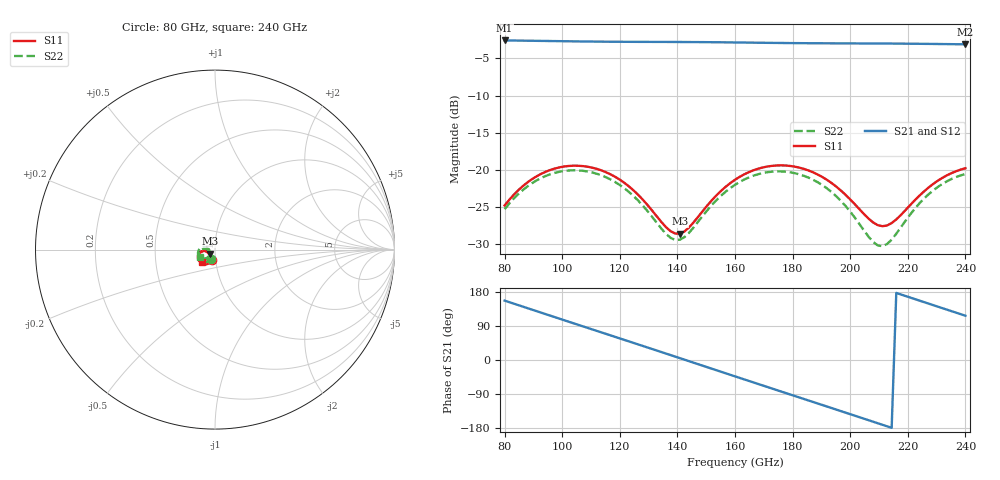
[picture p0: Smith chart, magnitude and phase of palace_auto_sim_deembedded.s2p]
! Created with skrf 1.11.0 (http://scikit-rf.org).
# GHz S DB R 50.0
!freq dBS11 angS11 dBS21 angS21 dBS12 angS12 dBS22 angS22
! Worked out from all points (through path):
!   101 points, 80 GHz to 240 GHz, reference 50 ohm
!   highest |S21| = -2.58 dB at 80 GHz (marker M1); lowest = -3.1 dB at 240 GHz (marker M2)
!   group delay of S21, straight-line fit = 6.94 ps
!   lowest |S11| = -28.5 dB at 140.8 GHz (marker M3), VSWR 1.08, Z = 47.1 - j2.17 ohm
!   |S11| at or under -10 dB: start of sweep to end of sweep
!   |S22| runs from -30.2 to -20.0 dB; largest |S21 - S12| = 1.3e-13
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80  -24.76 -107.1  -2.58 156.7  -2.58 156.7  -25.26 -112.6
86.4  -22.13 -111.2  -2.60 140.7  -2.60 140.7  -22.66 -117.5
94.4  -20.20 -123.3  -2.65 120.7  -2.65 120.7  -20.77 -130.4
100.8  -19.51 -134.7  -2.68 104.7  -2.68 104.7  -20.11 -142.6
107.2  -19.47 -146.3  -2.71 88.8  -2.71 88.8  -20.10 -154.9
120  -21.29 -166.9  -2.76 57.0  -2.76 57.0  -22.00 -176.9
128  -23.98 -173.3  -2.77 37.1  -2.77 37.1  -24.78 176.0
134.4  -26.96 -166.9  -2.78 21.1  -2.78 21.1  -27.85 -177.8
140.8  -28.54 -142.0  -2.78 5.0  -2.78 5.0  -29.36 -152.3
150.4  -24.75 -117.3  -2.81 -19.1  -2.81 -19.1  -25.39 -129.3
160  -21.30 -122.6  -2.85 -43.2  -2.85 -43.2  -21.98 -136.4
168  -19.82 -133.8  -2.88 -63.2  -2.88 -63.2  -20.56 -149.0
174.4  -19.38 -144.0  -2.91 -79.1  -2.91 -79.1  -20.18 -160.3
180.8  -19.54 -154.2  -2.93 -95.1  -2.93 -95.1  -20.42 -171.7
187.2  -20.32 -163.6  -2.95 -111.0  -2.95 -111.0  -21.32 177.6
198.4  -23.33 -173.3  -2.97 -138.9  -2.97 -138.9  -24.83 165.5
208  -27.05 -159.9  -2.98 -162.9  -2.98 -162.9  -29.68 -178.3
211.2  -27.54 -148.1  -2.99 -171.0  -2.99 -171.0  -30.23 -161.8
214.4  -27.13 -136.1  -3.00 -179.0  -3.00 -179.0  -29.34 -146.3
220.8  -24.72 -122.8  -3.02 164.9  -3.02 164.9  -25.98 -133.5
227.2  -22.35 -122.6  -3.04 148.9  -3.04 148.9  -23.26 -135.9
240  -19.75 -136.9  -3.10 116.8  -3.10 116.8  -20.53 -154.3
